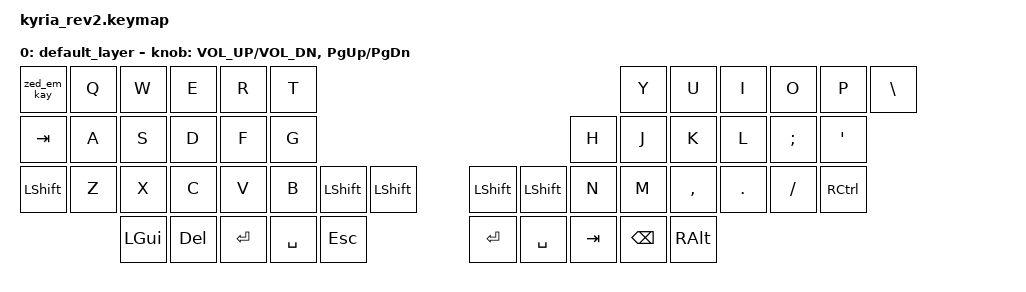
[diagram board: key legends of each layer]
/*
 * Copyright (c) 2020 The ZMK Contributors
 *
 * SPDX-License-Identifier: MIT
 */

#include <behaviors.dtsi>
#include <dt-bindings/zmk/keys.h>

#define DEFAULT   0
#define NAV       1
#define NUMBER    3
#define FUNCTION  2

/ {
    macros {
        zed_em_kay: zed_em_kay {
            label = "ZM_zed_em_kay";
            compatible = "zmk,behavior-macro";
            #binding-cells = <0>;
            bindings
                = <&macro_press &kp LSHFT>
                , <&macro_tap &kp Z &kp M &kp K>
                , <&macro_release &kp LSHFT>
                ;
        };
    };
};

/ {
	keymap {
		compatible = "zmk,keymap";

		default_layer {
			bindings = <
	&zed_em_kay   &kp Q &kp W &kp E &kp R &kp T                                                &kp Y &kp U  &kp I     &kp O   &kp P    &kp BSLH
	&kp TAB   &kp A &kp S &kp D &kp F &kp G                                                &kp H &kp J  &kp K     &kp L   &kp SEMI &kp SQT
	&kp LSHFT &kp Z &kp X &kp C &kp V &kp B &kp LSHFT &kp LSHFT        &kp LSHFT &kp LSHFT &kp N &kp M  &kp COMMA &kp DOT &kp FSLH &kp RCTRL
	                 &kp LGUI &kp DEL &kp RET &kp SPACE &kp ESC        &kp RET  &kp SPACE  &kp TAB &kp BSPC &kp RALT
			>;

			sensor-bindings = <&inc_dec_kp C_VOL_UP C_VOL_DN &inc_dec_kp PG_UP PG_DN>;
		};
	};
};
